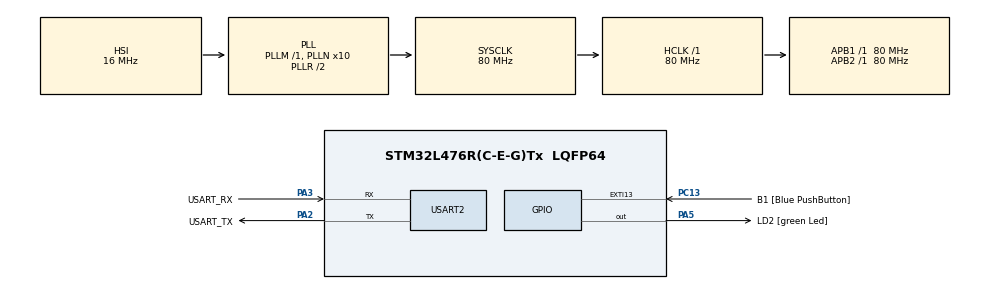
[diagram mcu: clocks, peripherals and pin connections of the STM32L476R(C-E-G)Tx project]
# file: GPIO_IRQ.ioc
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Mcu.Family=STM32L4
RCC.MSI_VALUE=4000000
RCC.PLLSourceVirtual=RCC_PLLSOURCE_HSI
PA14\ (JTCK-SWCLK).Mode=Serial_Wire
PA2.GPIO_PuPd=GPIO_NOPULL
RCC.CortexFreq_Value=80000000
PH0-OSC_IN\ (PH0).Signal=RCC_OSC_IN
PC13.Signal=GPXTI13
PA3.GPIO_PuPd=GPIO_NOPULL
PA2.GPIO_Speed=GPIO_SPEED_FREQ_VERY_HIGH
PC15-OSC32_OUT\ (PC15).Signal=RCC_OSC32_OUT
PC15-OSC32_OUT\ (PC15).Mode=LSE-External-Oscillator
PA14\ (JTCK-SWCLK).GPIO_Label=TCK
PB3\ (JTDO-TRACESWO).GPIO_Label=SWO
PC13.GPIO_Label=B1 [Blue PushButton]
PA3.GPIO_Speed=GPIO_SPEED_FREQ_VERY_HIGH
PH1-OSC_OUT\ (PH1).Signal=RCC_OSC_OUT
RCC.SYSCLKSource=RCC_SYSCLKSOURCE_PLLCLK
ProjectManager.StackSize=0x400
PB3\ (JTDO-TRACESWO).Signal=SYS_JTDO-SWO
PC14-OSC32_IN\ (PC14).Mode=LSE-External-Oscillator
PA14\ (JTCK-SWCLK).Signal=SYS_JTCK-SWCLK
PA3.Mode=Asynchronous
ProjectManager.TargetToolchain=STM32CubeIDE
PA3.GPIO_Mode=GPIO_MODE_AF_PP
RCC.HCLKFreq_Value=80000000
RCC.APB2TimFreq_Value=80000000
RCC.USBFreq_Value=64000000
RCC.AHBFreq_Value=80000000
RCC.PREFETCH_ENABLE=1
NVIC.EXTI15_10_IRQn=true\:0\:0\:false\:false\:true\:true\:true
PA5.Signal=GPIO_Output
RCC.HSE_VALUE=8000000
board=NUCLEO-L476RG
USART2.VirtualMode-Asynchronous=VM_ASYNC
RCC.VCOOutputFreq_Value=160000000
RCC.APB2Freq_Value=80000000
PA5.GPIO_ModeDefaultOutputPP=GPIO_MODE_OUTPUT_PP
PA13\ (JTMS-SWDIO).GPIO_Label=TMS
PA5.GPIO_PuPd=GPIO_NOPULL
RCC.ADCFreq_Value=64000000
PC13.GPIO_PuPd=GPIO_NOPULL
Mcu.Name=STM32L476R(C-E-G)Tx
PA2.Signal=USART2_TX
PA13\ (JTMS-SWDIO).Mode=Serial_Wire
RCC.SYSCLKFreq_VALUE=80000000
Mcu.Package=LQFP64
PA5.GPIO_Label=LD2 [green Led]
PC13.GPIO_ModeDefaultEXTI=GPIO_MODE_IT_FALLING
PC14-OSC32_IN\ (PC14).Signal=RCC_OSC32_IN
PA2.GPIO_Label=USART_TX
ProjectManager.HeapSize=0x200
RCC.HSI_VALUE=16000000
PA5.GPIO_Speed=GPIO_SPEED_FREQ_LOW
NVIC.PriorityGroup=NVIC_PRIORITYGROUP_4
RCC.PLLN=10
RCC.APB1TimFreq_Value=80000000
PA2.Mode=Asynchronous
PA13\ (JTMS-SWDIO).Signal=SYS_JTMS-SWDIO
RCC.APB1Freq_Value=80000000
PA3.GPIO_Label=USART_RX
PA3.Signal=USART2_RX
PA2.GPIO_Mode=GPIO_MODE_AF_PP

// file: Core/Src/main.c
/* USER CODE BEGIN Header */
/**
  ******************************************************************************
  * @file           : main.c
  * @brief          : Main program body
  ******************************************************************************
  * @attention
  *
  * <h2><center>&copy; Copyright (c) 2021 STMicroelectronics.
  * All rights reserved.</center></h2>
  *
  * This software component is licensed by ST under BSD 3-Clause license,
  * the "License"; You may not use this file except in compliance with the
  * License. You may obtain a copy of the License at:
  *                        opensource.org/licenses/BSD-3-Clause
  *
  ******************************************************************************
  */
/* USER CODE END Header */

#include "main.h"

/* USER CODE BEGIN Includes */

#include "stm32l4xx_hal_exti.h"

/* USER CODE END Includes */

UART_HandleTypeDef huart2;

/* USER CODE BEGIN PV */

EXTI_HandleTypeDef hpb_exti_13 = {.Line = EXTI_LINE_13}; // Port = GPIOC, Pin = GPIO13

volatile int32_t ButtonPushed = 0;

/* USER CODE END PV */

void SystemClock_Config(void);

static void MX_GPIO_Init(void);
static void MX_USART2_UART_Init(void);

/* USER CODE BEGIN PFP */

static void BUTTON_EXTI_ISR(void); // Button EXTI irq service routine

/* USER CODE END PFP */

int main(void)
{
  /* USER CODE BEGIN 1 */

  int LED_cycle = 0x100;

  /* USER CODE END 1 */

  /* MCU Configuration--------------------------------------------------------*/

  /* Reset of all peripherals, Initializes the Flash interface and the Systick. */
  HAL_Init();

  /* Configure the system clock */

  SystemClock_Config();

  /* Initialize all configured peripherals */

  MX_GPIO_Init();
  MX_USART2_UART_Init();

  /* USER CODE BEGIN 2 */

  // Initialize user button interrupt on EXTI LINE 13 ........................

  if (HAL_EXTI_GetHandle(&hpb_exti_13, EXTI_LINE_13) != HAL_OK)  {

	  Error_Handler();// peripheral error
  }
  else if (HAL_EXTI_RegisterCallback(&hpb_exti_13, HAL_EXTI_COMMON_CB_ID, BUTTON_EXTI_ISR) != HAL_OK) {

	  Error_Handler();// peripheral error
  }
  else {

	  // Enable EXTI and set the lowest priority */

	  HAL_NVIC_SetPriority(EXTI15_10_IRQn, 0x0F, 0x00);
	  HAL_NVIC_EnableIRQ(EXTI15_10_IRQn);
  }

  /* USER CODE END 2 */

  /* Infinite loop */
  while (1)
  {

	  if (ButtonPushed) {

		  ButtonPushed = 0; // Clear state

		  if (LED_cycle & 0x400) {

			  LED_cycle = LED_cycle >> 2;

		  } else {

			  LED_cycle = LED_cycle << 2;
		  }
	  }

      HAL_GPIO_TogglePin(LD2_GPIO_Port, LD2_Pin);
      HAL_Delay(LED_cycle);

  }
}

void SystemClock_Config(void)
{
  RCC_OscInitTypeDef RCC_OscInitStruct = {0};
  RCC_ClkInitTypeDef RCC_ClkInitStruct = {0};
  RCC_PeriphCLKInitTypeDef PeriphClkInit = {0};

  /** Initializes the RCC Oscillators according to the specified parameters
  * in the RCC_OscInitTypeDef structure.
  */
  RCC_OscInitStruct.OscillatorType = RCC_OSCILLATORTYPE_HSI;
  RCC_OscInitStruct.HSIState = RCC_HSI_ON;
  RCC_OscInitStruct.HSICalibrationValue = RCC_HSICALIBRATION_DEFAULT;
  RCC_OscInitStruct.PLL.PLLState = RCC_PLL_ON;
  RCC_OscInitStruct.PLL.PLLSource = RCC_PLLSOURCE_HSI;
  RCC_OscInitStruct.PLL.PLLM = 1;
  RCC_OscInitStruct.PLL.PLLN = 10;
  RCC_OscInitStruct.PLL.PLLP = RCC_PLLP_DIV7;
  RCC_OscInitStruct.PLL.PLLQ = RCC_PLLQ_DIV2;
  RCC_OscInitStruct.PLL.PLLR = RCC_PLLR_DIV2;
  if (HAL_RCC_OscConfig(&RCC_OscInitStruct) != HAL_OK)
  {
    Error_Handler();
  }
  /** Initializes the CPU, AHB and APB buses clocks
  */
  RCC_ClkInitStruct.ClockType = RCC_CLOCKTYPE_HCLK|RCC_CLOCKTYPE_SYSCLK
                              |RCC_CLOCKTYPE_PCLK1|RCC_CLOCKTYPE_PCLK2;
  RCC_ClkInitStruct.SYSCLKSource = RCC_SYSCLKSOURCE_PLLCLK;
  RCC_ClkInitStruct.AHBCLKDivider = RCC_SYSCLK_DIV1;
  RCC_ClkInitStruct.APB1CLKDivider = RCC_HCLK_DIV1;
  RCC_ClkInitStruct.APB2CLKDivider = RCC_HCLK_DIV1;

  if (HAL_RCC_ClockConfig(&RCC_ClkInitStruct, FLASH_LATENCY_4) != HAL_OK)
  {
    Error_Handler();
  }
  PeriphClkInit.PeriphClockSelection = RCC_PERIPHCLK_USART2;
  PeriphClkInit.Usart2ClockSelection = RCC_USART2CLKSOURCE_PCLK1;
  if (HAL_RCCEx_PeriphCLKConfig(&PeriphClkInit) != HAL_OK)
  {
    Error_Handler();
  }
  /** Configure the main internal regulator output voltage
  */
  if (HAL_PWREx_ControlVoltageScaling(PWR_REGULATOR_VOLTAGE_SCALE1) != HAL_OK)
  {
    Error_Handler();
  }
}

static void MX_USART2_UART_Init(void)
{

  huart2.Instance = USART2;
  huart2.Init.BaudRate = 115200;
  huart2.Init.WordLength = UART_WORDLENGTH_8B;
  huart2.Init.StopBits = UART_STOPBITS_1;
  huart2.Init.Parity = UART_PARITY_NONE;
  huart2.Init.Mode = UART_MODE_TX_RX;
  huart2.Init.HwFlowCtl = UART_HWCONTROL_NONE;
  huart2.Init.OverSampling = UART_OVERSAMPLING_16;
  huart2.Init.OneBitSampling = UART_ONE_BIT_SAMPLE_DISABLE;
  huart2.AdvancedInit.AdvFeatureInit = UART_ADVFEATURE_NO_INIT;
  if (HAL_UART_Init(&huart2) != HAL_OK)
  {
    Error_Handler();
  }

}

static void MX_GPIO_Init(void)
{
  GPIO_InitTypeDef GPIO_InitStruct = {0};

  /* GPIO Ports Clock Enable */
  __HAL_RCC_GPIOC_CLK_ENABLE();
  __HAL_RCC_GPIOH_CLK_ENABLE();
  __HAL_RCC_GPIOA_CLK_ENABLE();
  __HAL_RCC_GPIOB_CLK_ENABLE();
  __HAL_RCC_GPIOD_CLK_ENABLE();

  /*Configure GPIO pin Output Level */
  HAL_GPIO_WritePin(LD2_GPIO_Port, LD2_Pin, GPIO_PIN_RESET);

  /*Configure GPIO pin : B1_Pin */
  GPIO_InitStruct.Pin = B1_Pin;
  GPIO_InitStruct.Mode = GPIO_MODE_IT_FALLING;
  GPIO_InitStruct.Pull = GPIO_NOPULL;
  HAL_GPIO_Init(B1_GPIO_Port, &GPIO_InitStruct);

  /*Configure GPIO pins : PC0 PC1 PC2 PC3
                           PC4 PC5 PC6 PC7
                           PC8 PC9 PC10 PC11
                           PC12 */
  GPIO_InitStruct.Pin = GPIO_PIN_0|GPIO_PIN_1|GPIO_PIN_2|GPIO_PIN_3
                          |GPIO_PIN_4|GPIO_PIN_5|GPIO_PIN_6|GPIO_PIN_7
                          |GPIO_PIN_8|GPIO_PIN_9|GPIO_PIN_10|GPIO_PIN_11
                          |GPIO_PIN_12;
  GPIO_InitStruct.Mode = GPIO_MODE_ANALOG;
  GPIO_InitStruct.Pull = GPIO_NOPULL;
  HAL_GPIO_Init(GPIOC, &GPIO_InitStruct);

  /*Configure GPIO pins : PA0 PA1 PA4 PA6
                           PA7 PA8 PA9 PA10
                           PA11 PA12 PA15 */
  GPIO_InitStruct.Pin = GPIO_PIN_0|GPIO_PIN_1|GPIO_PIN_4|GPIO_PIN_6
                          |GPIO_PIN_7|GPIO_PIN_8|GPIO_PIN_9|GPIO_PIN_10
                          |GPIO_PIN_11|GPIO_PIN_12|GPIO_PIN_15;
  GPIO_InitStruct.Mode = GPIO_MODE_ANALOG;
  GPIO_InitStruct.Pull = GPIO_NOPULL;
  HAL_GPIO_Init(GPIOA, &GPIO_InitStruct);

  /*Configure GPIO pin : LD2_Pin */
  GPIO_InitStruct.Pin = LD2_Pin;
  GPIO_InitStruct.Mode = GPIO_MODE_OUTPUT_PP;
  GPIO_InitStruct.Pull = GPIO_NOPULL;
  GPIO_InitStruct.Speed = GPIO_SPEED_FREQ_LOW;
  HAL_GPIO_Init(LD2_GPIO_Port, &GPIO_InitStruct);

  /*Configure GPIO pins : PB0 PB1 PB2 PB10
                           PB11 PB12 PB13 PB14
                           PB15 PB4 PB5 PB6
                           PB7 PB8 PB9 */
  GPIO_InitStruct.Pin = GPIO_PIN_0|GPIO_PIN_1|GPIO_PIN_2|GPIO_PIN_10
                          |GPIO_PIN_11|GPIO_PIN_12|GPIO_PIN_13|GPIO_PIN_14
                          |GPIO_PIN_15|GPIO_PIN_4|GPIO_PIN_5|GPIO_PIN_6
                          |GPIO_PIN_7|GPIO_PIN_8|GPIO_PIN_9;
  GPIO_InitStruct.Mode = GPIO_MODE_ANALOG;
  GPIO_InitStruct.Pull = GPIO_NOPULL;
  HAL_GPIO_Init(GPIOB, &GPIO_InitStruct);

  /*Configure GPIO pin : PD2 */
  GPIO_InitStruct.Pin = GPIO_PIN_2;
  GPIO_InitStruct.Mode = GPIO_MODE_ANALOG;
  GPIO_InitStruct.Pull = GPIO_NOPULL;
  HAL_GPIO_Init(GPIOD, &GPIO_InitStruct);

  /* EXTI interrupt init*/
  HAL_NVIC_SetPriority(EXTI15_10_IRQn, 0, 0);
  HAL_NVIC_EnableIRQ(EXTI15_10_IRQn);

}

/* USER CODE BEGIN 4 */

// Button EXTI interrupt service routine
//
static void BUTTON_EXTI_ISR(void)
{
	if (!ButtonPushed)
		ButtonPushed = 1; // set button pushed state, if not already set
}

/* USER CODE END 4 */

void Error_Handler(void)
{
  /* USER CODE BEGIN Error_Handler_Debug */
  /* User can add his own implementation to report the HAL error return state */

  __disable_irq();

  while (1)
  {
	    HAL_GPIO_TogglePin(LD2_GPIO_Port, LD2_Pin);
	    HAL_Delay(125);
  }
  /* USER CODE END Error_Handler_Debug */
}

/************************ (C) COPYRIGHT STMicroelectronics *****END OF FILE****/
